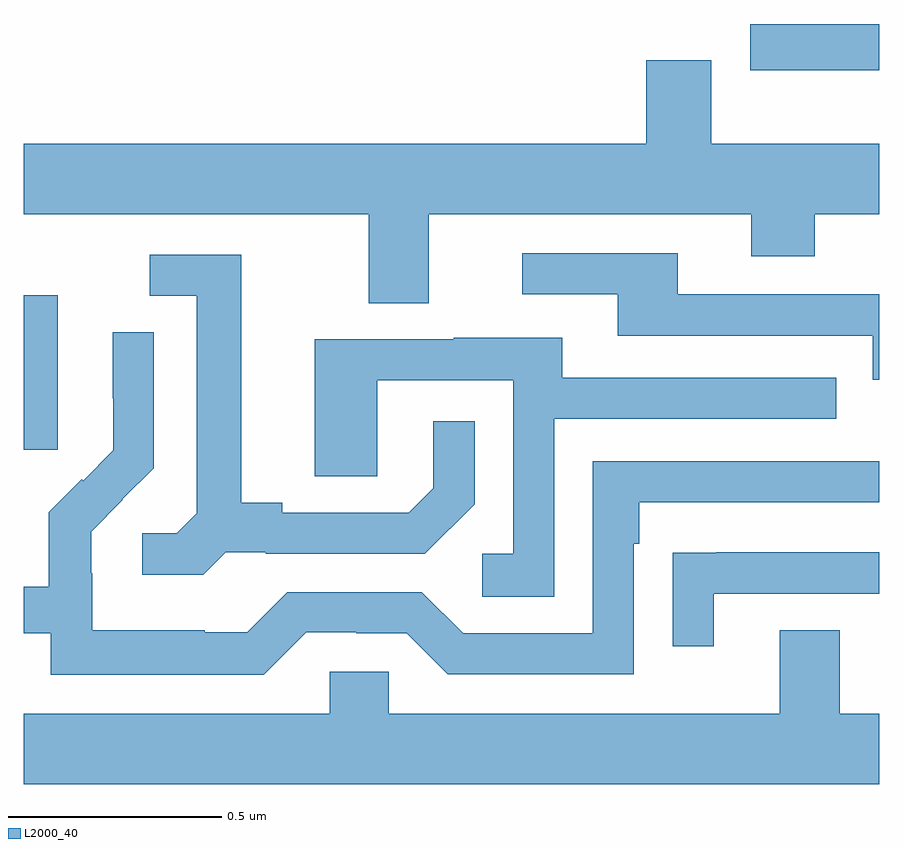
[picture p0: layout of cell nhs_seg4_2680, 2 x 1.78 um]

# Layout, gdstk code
import gdstk
lib = gdstk.Library(unit=1e-6, precision=1e-09)
def R(c, l, rs):  # rectangles x0, y0, x1, y1
    for r in rs: c.add(gdstk.rectangle(r[:2], r[2:], *l))
def P(c, l, *ps):  # polygons
    for p in ps: c.add(gdstk.Polygon(p, *l))
L2000_40 = (2000, 40)

nhs_seg4_2680 = lib.new_cell('nhs_seg4_2680')
R(nhs_seg4_2680, L2000_40, [(143,826.905,143.08,827.266), (144.698,827.792,145,827.9)])
P(nhs_seg4_2680, L2000_40, [(143.947,827.456),(144.701,827.456),(144.701,827.357),(144.849,827.357),(144.849,827.456),(145,827.456),(145,827.62),(144.607,827.62),(144.607,827.815),(144.455,827.815),(144.455,827.62),(143,827.62),(143,827.456),(143.807,827.456),(143.807,827.248),(143.947,827.248)],
  [(145,827.268),(144.529,827.268),(144.529,827.364),(144.165,827.364),(144.165,827.268),(144.389,827.268),(144.389,827.172),(144.984,827.172),(144.984,827.069),(145,827.069)],
  [(143.472,826.665),(143.566,826.665),(143.566,826.662),(143.938,826.662),(144.054,826.778),(144.054,826.972),(143.957,826.972),(143.957,826.815),(143.9,826.758),(143.605,826.758),(143.605,826.781),(143.509,826.781),(143.509,827.361),(143.295,827.361),(143.295,827.265),(143.405,827.265),(143.405,826.757),(143.358,826.71),(143.277,826.71),(143.277,826.613),(143.42,826.613)],
  [(143.661,826.479),(143.777,826.479),(143.777,826.476),(143.895,826.476),(143.991,826.38),(144.426,826.38),(144.426,826.685),(144.439,826.685),(144.439,826.782),(145,826.782),(145,826.878),(144.33,826.878),(144.33,826.476),(144.027,826.476),(143.931,826.572),(143.616,826.572),(143.523,826.479),(143.423,826.479),(143.423,826.483),(143.16,826.483),(143.16,826.617),(143.158,826.617),(143.158,826.714),(143.232,826.788),(143.231,826.789),(143.304,826.862),(143.304,827.18),(143.208,827.18),(143.208,827.026),(143.21,827.026),(143.21,826.904),(143.139,826.833),(143.136,826.836),(143.059,826.759),(143.059,826.585),(143,826.585),(143,826.476),(143.064,826.476),(143.064,826.379),(143.561,826.379)],
  [(144.24,826.977),(144.899,826.977),(144.899,827.073),(144.259,827.073),(144.259,827.167),(144.005,827.167),(144.005,827.163),(143.681,827.163),(143.681,826.843),(143.826,826.843),(143.826,827.067),(144.144,827.067),(144.144,826.662),(144.072,826.662),(144.072,826.561),(144.24,826.561)],
  [(144.613,826.569),(145,826.569),(145,826.665),(144.619,826.665),(144.619,826.664),(144.517,826.664),(144.517,826.446),(144.613,826.446)],
  [(145,826.288),(144.907,826.288),(144.907,826.483),(144.767,826.483),(144.767,826.288),(143.853,826.288),(143.853,826.386),(143.715,826.386),(143.715,826.288),(143,826.288),(143,826.124),(145,826.124)])

lib.write_gds('nhs_seg4_2680.gds')
